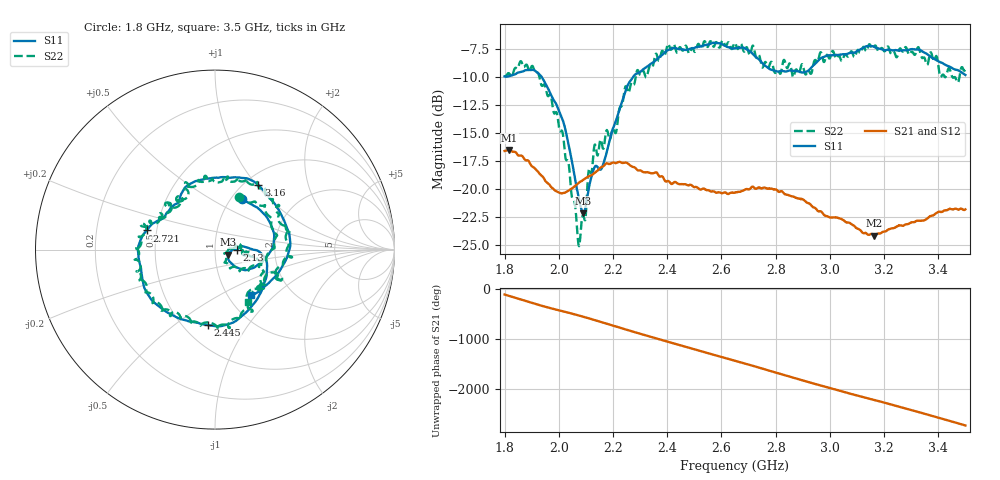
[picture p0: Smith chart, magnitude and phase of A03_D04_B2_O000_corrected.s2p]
! Created with skrf 1.9.0 (http://scikit-rf.org).
# Hz S RI R 50.0
!freq ReS11 ImS11 ReS21 ImS21 ReS12 ImS12 ReS22 ImS22
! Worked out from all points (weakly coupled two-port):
!   1601 points, 1.8 GHz to 3.5 GHz, reference 50 ohm
!   highest |S21| = -16.51 dB at 1.817 GHz (marker M1); lowest = -24.2 dB at 3.164 GHz (marker M2)
!   lowest |S11| = -22.2 dB at 2.09 GHz (marker M3), VSWR 1.17, Z = 57.8 - j3.19 ohm
!   |S11| at or under -10 dB: 1.938 GHz to 2.273 GHz (335.7 MHz wide, 15.9 % of centre)
!   |S22| runs from -25.1 to -6.7 dB; largest |S21 - S12| = 0.0025
!   S11 on the Smith chart (normalised r, x): 1.8 GHz: 1.12, +0.70; 2.13 GHz: 1.28, +0.00; 2.445 GHz: 0.65, -0.67; 2.721 GHz: 0.44, +0.11; 3.16 GHz: 1.15, +1.02; 3.5 GHz: 1.27, -0.72
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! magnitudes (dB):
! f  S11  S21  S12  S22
! 1.8 GHz  -9.9  -16.6  -16.6  -9.8
! 1.817 GHz  -9.9  -16.5  -16.5  -9.7
! 1.903 GHz  -9.3  -18.0  -18.0  -9.0
! 1.968 GHz  -11.4  -19.7  -19.7  -11.6
! 2.015 GHz  -13.8  -20.4  -20.4  -15.0
! 2.072 GHz  -20.6  -19.5  -19.5  -24.9
! 2.084 GHz  -21.8  -19.3  -19.2  -23.0
! 2.09 GHz  -22.2  -19.2  -19.2  -22.4
! 2.13 GHz  -18.1  -18.6  -18.6  -16.2
! 2.162 GHz  -17.9  -18.0  -17.9  -16.4
! 2.259 GHz  -10.5  -17.8  -17.8  -11.3
! 2.367 GHz  -8.3  -18.8  -18.7  -8.5
! 2.445 GHz  -7.5  -19.6  -19.5  -7.3
! 2.65 GHz  -7.4  -20.3  -20.3  -6.9
! 2.721 GHz  -8.1  -19.9  -19.8  -7.5
! 2.802 GHz  -9.4  -20.1  -20.1  -9.5
! 2.934 GHz  -9.1  -21.5  -21.5  -9.5
! 3.16 GHz  -7.2  -24.1  -24.1  -7.4
! 3.164 GHz  -7.3  -24.2  -24.1  -7.2
! 3.217 GHz  -7.5  -23.6  -23.6  -7.4
! 3.468 GHz  -9.3  -21.8  -21.8  -10.3
! 3.5 GHz  -9.8  -21.8  -21.8  -9.2
